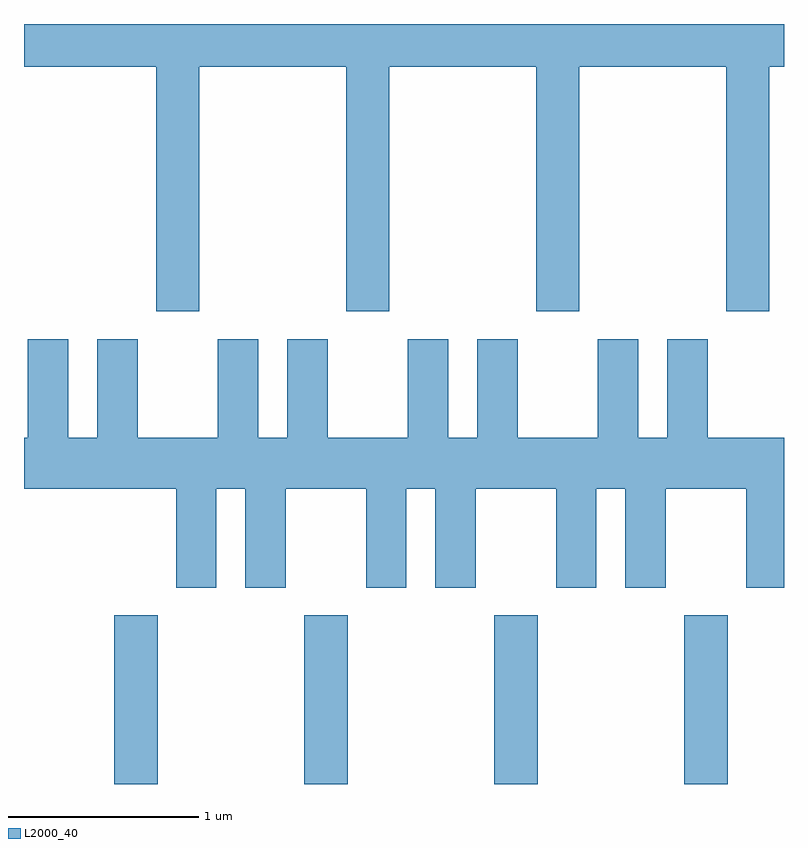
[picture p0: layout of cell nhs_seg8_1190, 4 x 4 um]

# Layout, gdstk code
import gdstk
lib = gdstk.Library(unit=1e-6, precision=1e-09)
def R(c, l, rs):  # rectangles x0, y0, x1, y1
    for r in rs: c.add(gdstk.rectangle(r[:2], r[2:], *l))
def A(c, l, x, y, w, h, nx, ny, dx, dy):  # array of equal rectangles
    R(c, l, [(x+i*dx, y+j*dy, x+i*dx+w, y+j*dy+h) for i in range(nx) for j in range(ny)])
def P(c, l, *ps):  # polygons
    for p in ps: c.add(gdstk.Polygon(p, *l))
L2000_40 = (2000, 40)

nhs_seg8_1190 = lib.new_cell('nhs_seg8_1190')
A(nhs_seg8_1190, L2000_40, 220.086, 1910.342, 0.228, 0.887, 4, 1, 1, 0)
P(nhs_seg8_1190, L2000_40, [(219.611,1914.116),(220.306,1914.116),(220.306,1912.831),(220.534,1912.831),(220.534,1914.116),(221.306,1914.116),(221.306,1912.831),(221.534,1912.831),(221.534,1914.116),(222.306,1914.116),(222.306,1912.831),(222.534,1912.831),(222.534,1914.116),(223.306,1914.116),(223.306,1912.831),(223.534,1912.831),(223.534,1914.116),(223.611,1914.116),(223.611,1914.342),(219.611,1914.342)],
  [(220.624,1911.896),(220.776,1911.896),(220.776,1911.376),(220.989,1911.376),(220.989,1911.896),(221.411,1911.896),(221.411,1911.376),(221.624,1911.376),(221.624,1911.896),(221.776,1911.896),(221.776,1911.376),(221.989,1911.376),(221.989,1911.896),(222.411,1911.896),(222.411,1911.376),(222.624,1911.376),(222.624,1911.896),(222.776,1911.896),(222.776,1911.376),(222.989,1911.376),(222.989,1911.896),(223.411,1911.896),(223.411,1911.376),(223.611,1911.376),(223.611,1912.164),(223.209,1912.164),(223.209,1912.684),(222.996,1912.684),(222.996,1912.164),(222.844,1912.164),(222.844,1912.684),(222.631,1912.684),(222.631,1912.164),(222.209,1912.164),(222.209,1912.684),(221.996,1912.684),(221.996,1912.164),(221.844,1912.164),(221.844,1912.684),(221.631,1912.684),(221.631,1912.164),(221.209,1912.164),(221.209,1912.684),(220.996,1912.684),(220.996,1912.164),(220.844,1912.164),(220.844,1912.684),(220.631,1912.684),(220.631,1912.164),(220.209,1912.164),(220.209,1912.684),(219.996,1912.684),(219.996,1912.164),(219.844,1912.164),(219.844,1912.684),(219.631,1912.684),(219.631,1912.164),(219.611,1912.164),(219.611,1911.896),(220.411,1911.896),(220.411,1911.376),(220.624,1911.376)])

lib.write_gds('nhs_seg8_1190.gds')
